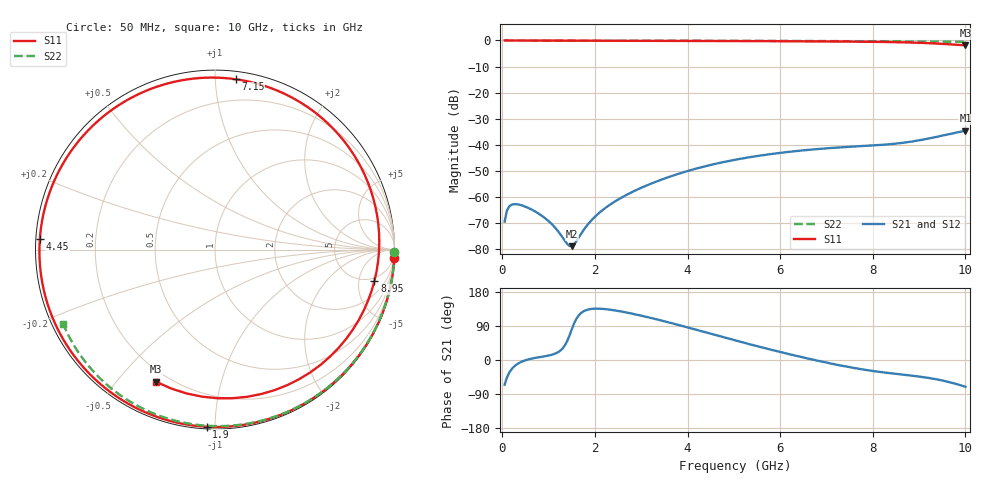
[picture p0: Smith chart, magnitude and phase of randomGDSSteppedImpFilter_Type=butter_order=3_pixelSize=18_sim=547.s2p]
! freq	dB(S11)	phase(S11)	dB(S12)	phase(S12)
!  dB(S21)	phase(S21)	dB(S22)	phase(S22)
!S-par simulation data
#  GHz  S  DB  R 50
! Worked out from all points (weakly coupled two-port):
!   200 points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, 50 MHz to 10 GHz, reference 50 ohm
!   highest |S21| = -34.63 dB at 10 GHz (marker M1); lowest = -78.9 dB at 1.5 GHz (marker M2)
!   lowest |S11| = -1.9 dB at 10 GHz (marker M3), VSWR 9.33, Z = 7.58 - j31.9 ohm
!   |S11| at or under -10 dB: nowhere
!   |S22| runs from -0.5 to 0.0 dB; largest |S21 - S12| = 0
!   S11 on the Smith chart (normalised r, x): 50 MHz: 0, -43; 1.9 GHz: 0.01, -0.95; 4.45 GHz: 0.01, +0.03; 7.15 GHz: 0.05, +1.13; 8.95 GHz: 4.17, -8.10; 10 GHz: 0.15, -0.64
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0.05  -0.00 -2.7  -69.46 -65.2  -69.46 -65.2  -0.00 -0.9
0.1  -0.00 -5.3  -65.17 -46.3  -65.17 -46.3  -0.00 -1.8
0.15  -0.00 -8.0  -63.63 -33.3  -63.63 -33.3  -0.00 -2.7
0.45  -0.02 -23.8  -63.40 -2.9  -63.40 -2.9  -0.01 -8.0
0.95  -0.06 -49.2  -68.51 10.5  -68.51 10.5  -0.02 -16.9
1.5  -0.09 -75.3  -78.87 80.9  -78.87 80.9  -0.03 -26.5
1.75  -0.10 -86.3  -72.83 128.2  -72.83 128.2  -0.04 -30.8
1.9  -0.11 -92.7  -69.45 134.3  -69.45 134.3  -0.04 -33.4
2.5  -0.13 -116.8  -61.01 129.5  -61.01 129.5  -0.06 -43.6
3.4  -0.15 -149.1  -53.60 105.3  -53.60 105.3  -0.08 -58.5
4.45  -0.20 176.5  -47.93 71.0  -47.93 71.0  -0.11 -75.1
5.05  -0.23 157.4  -45.66 51.0  -45.66 51.0  -0.13 -84.3
5.85  -0.28 131.1  -43.44 25.7  -43.44 25.7  -0.16 -96.1
6.7  -0.34 100.8  -41.80 1.1  -41.80 1.1  -0.21 -108.3
7.15  -0.39 83.1  -41.17 -10.6  -41.17 -10.6  -0.24 -114.7
7.75  -0.47 57.0  -40.52 -24.3  -40.52 -24.3  -0.28 -123.0
8.35  -0.61 26.5  -39.81 -34.5  -39.81 -34.5  -0.34 -131.3
8.95  -0.86 -11.2  -38.45 -42.9  -38.45 -42.9  -0.40 -139.5
9.3  -1.11 -38.6  -37.26 -49.3  -37.26 -49.3  -0.43 -144.3
9.6  -1.41 -67.0  -36.11 -56.8  -36.11 -56.8  -0.47 -148.5
9.8  -1.64 -89.1  -35.34 -63.2  -35.34 -63.2  -0.49 -151.3
10  -1.87 -114.1  -34.63 -70.7  -34.63 -70.7  -0.52 -154.1
